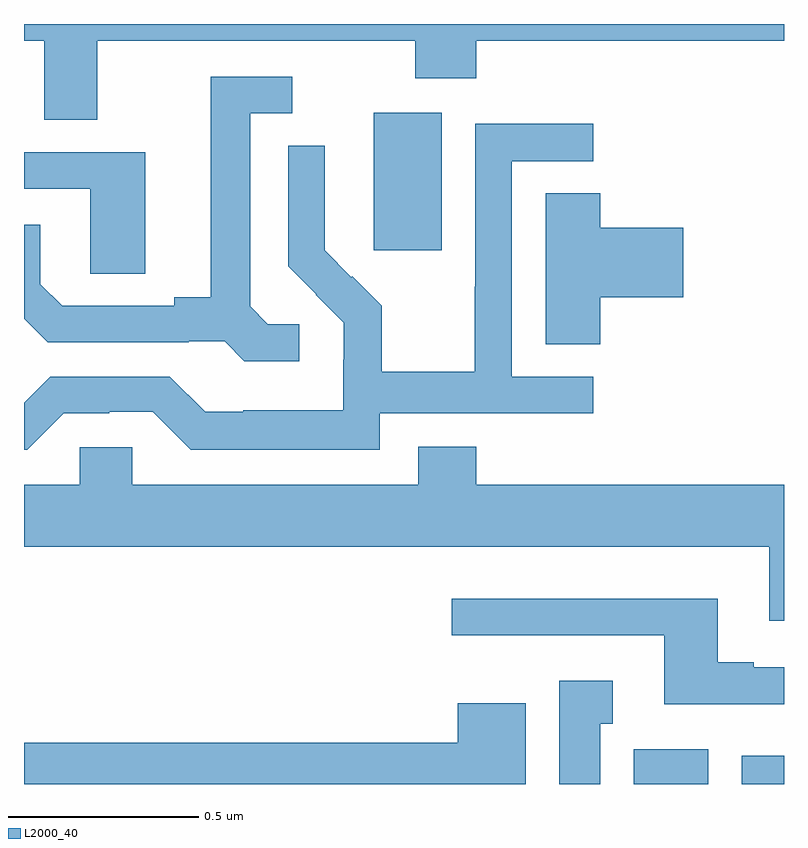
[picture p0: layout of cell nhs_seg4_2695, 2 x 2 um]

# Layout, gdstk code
import gdstk
lib = gdstk.Library(unit=1e-6, precision=1e-09)
def R(c, l, rs):  # rectangles x0, y0, x1, y1
    for r in rs: c.add(gdstk.rectangle(r[:2], r[2:], *l))
def P(c, l, *ps):  # polygons
    for p in ps: c.add(gdstk.Polygon(p, *l))
L2000_40 = (2000, 40)

nhs_seg4_2695 = lib.new_cell('nhs_seg4_2695')
R(nhs_seg4_2695, L2000_40, [(145.604,758.9,145.801,758.992), (145.889,758.9,146,758.974), (144.92,760.305,145.099,760.666)])
P(nhs_seg4_2695, L2000_40, [(144.193,760.856),(145.03,760.856),(145.03,760.757),(145.19,760.757),(145.19,760.856),(146,760.856),(146,760.9),(144,760.9),(144,760.856),(144.053,760.856),(144.053,760.648),(144.193,760.648)],
  [(144.724,760.11),(144.642,760.11),(144.595,760.157),(144.595,760.665),(144.706,760.665),(144.706,760.761),(144.491,760.761),(144.491,760.181),(144.395,760.181),(144.395,760.158),(144.1,760.158),(144.043,760.215),(144.043,760.372),(144,760.372),(144,760.124),(144.062,760.062),(144.434,760.062),(144.434,760.065),(144.528,760.065),(144.58,760.013),(144.724,760.013)],
  [(144.936,759.876),(145.498,759.876),(145.498,759.972),(145.284,759.972),(145.284,760.539),(145.498,760.539),(145.498,760.638),(145.188,760.638),(145.188,760.208),(145.186,760.208),(145.186,759.985),(144.941,759.985),(144.941,760.159),(144.864,760.236),(144.861,760.233),(144.791,760.304),(144.791,760.426),(144.792,760.426),(144.792,760.58),(144.696,760.58),(144.696,760.262),(144.769,760.189),(144.768,760.188),(144.842,760.114),(144.842,760.017),(144.84,760.017),(144.84,759.883),(144.577,759.883),(144.577,759.879),(144.477,759.879),(144.384,759.972),(144.069,759.972),(144,759.903),(144,759.78),(144.009,759.78),(144.105,759.876),(144.224,759.876),(144.224,759.879),(144.339,759.879),(144.439,759.779),(144.936,759.779)],
  [(144.319,760.563),(144,760.563),(144,760.467),(144.174,760.467),(144.174,760.243),(144.319,760.243)],
  [(145.517,760.181),(145.735,760.181),(145.735,760.364),(145.517,760.364),(145.517,760.454),(145.373,760.454),(145.373,760.057),(145.517,760.057)],
  [(146,759.688),(145.19,759.688),(145.19,759.787),(145.037,759.787),(145.037,759.688),(144.285,759.688),(144.285,759.786),(144.147,759.786),(144.147,759.688),(144,759.688),(144,759.524),(145.961,759.524),(145.961,759.33),(146,759.33)],
  [(146,759.207),(145.921,759.207),(145.921,759.22),(145.825,759.22),(145.825,759.388),(145.125,759.388),(145.125,759.291),(145.685,759.291),(145.685,759.11),(146,759.11)],
  [(145.516,759.059),(145.549,759.059),(145.549,759.172),(145.409,759.172),(145.409,758.9),(145.516,758.9)],
  [(145.321,759.112),(145.142,759.112),(145.142,759.008),(144,759.008),(144,758.9),(145.321,758.9)])

lib.write_gds('nhs_seg4_2695.gds')
